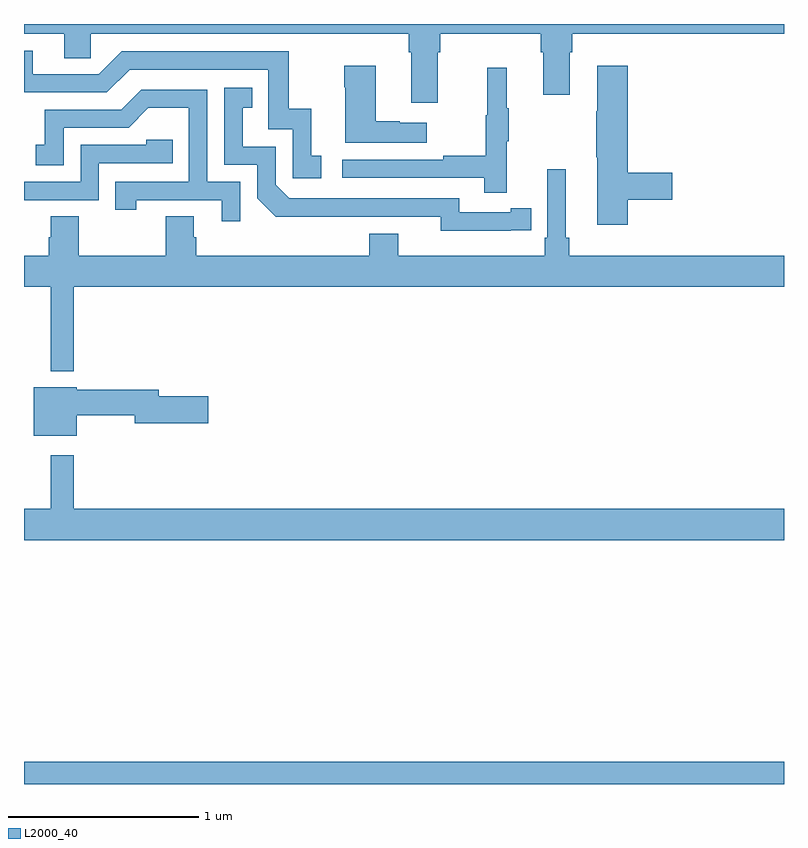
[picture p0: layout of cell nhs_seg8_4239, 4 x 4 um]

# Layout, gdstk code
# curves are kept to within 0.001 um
import gdstk
lib = gdstk.Library(unit=1e-6, precision=1e-09)
def R(c, l, rs):  # rectangles x0, y0, x1, y1
    for r in rs: c.add(gdstk.rectangle(r[:2], r[2:], *l))
def P(c, l, *ps):  # polygons
    for p in ps: c.add(gdstk.Polygon(p, *l))
L2000_40 = (2000, 40)

nhs_seg8_4239 = lib.new_cell('nhs_seg8_4239')
R(nhs_seg8_4239, L2000_40, [(371,1097.9,375,1098.016)])
P(nhs_seg8_4239, L2000_40, [(373.177,1101.752),(373.19,1101.752),(373.19,1101.848),(373.721,1101.848),(373.721,1101.752),(373.733,1101.752),(373.733,1101.528),(373.873,1101.528),(373.873,1101.752),(373.886,1101.752),(373.886,1101.848),(375,1101.848),(375,1101.9),(371,1101.9),(371,1101.848),(371.213,1101.848),(371.213,1101.721),(371.352,1101.721),(371.352,1101.848),(373.025,1101.848),(373.025,1101.752),(373.037,1101.752),(373.037,1101.486),(373.177,1101.486)],
  [(372.565,1101.207),(372.512,1101.207),(372.512,1101.454),(372.394,1101.454),(372.394,1101.756),(371.514,1101.756),(371.394,1101.636),(371.047,1101.636),(371.047,1101.759),(371,1101.759),(371,1101.54),(371.436,1101.54),(371.556,1101.66),(372.285,1101.66),(372.285,1101.345),(372.414,1101.345),(372.414,1101.087),(372.565,1101.087)],
  [(373.12,1101.379),(372.977,1101.379),(372.977,1101.389),(372.85,1101.389),(372.85,1101.679),(372.685,1101.679),(372.685,1101.566),(372.692,1101.566),(372.692,1101.275),(373.12,1101.275)],
  [(374.177,1100.974),(374.413,1100.974),(374.413,1101.116),(374.177,1101.116),(374.177,1101.679),(374.018,1101.679),(374.018,1101.44),(374.011,1101.44),(374.011,1101.199),(374.018,1101.199),(374.018,1100.844),(374.177,1100.844)],
  [(373.541,1101.283),(373.552,1101.283),(373.552,1101.457),(373.541,1101.457),(373.541,1101.67),(373.438,1101.67),(373.438,1101.42),(373.431,1101.42),(373.431,1101.206),(373.207,1101.206),(373.207,1101.186),(372.675,1101.186),(372.675,1101.09),(373.423,1101.09),(373.423,1101.012),(373.541,1101.012)],
  [(373.562,1100.814),(373.67,1100.814),(373.67,1100.93),(373.562,1100.93),(373.562,1100.91),(373.29,1100.91),(373.29,1100.982),(372.396,1100.982),(372.324,1101.054),(372.324,1101.255),(372.151,1101.255),(372.151,1101.459),(372.2,1101.459),(372.2,1101.565),(372.054,1101.565),(372.054,1101.159),(372.228,1101.159),(372.228,1100.982),(372.326,1100.885),(373.194,1100.886),(373.194,1100.813)],
  [(372.138,1101.069),(371.964,1101.069),(371.964,1101.555),(371.618,1101.555),(371.513,1101.45),(371.11,1101.45),(371.11,1101.265),(371.061,1101.265),(371.061,1101.156),(371.208,1101.156),(371.208,1101.354),(371.55,1101.354),(371.654,1101.458),(371.868,1101.458),(371.868,1101.069),(371.479,1101.069),(371.479,1100.922),(371.59,1100.922),(371.59,1100.973),(372.041,1100.973),(372.041,1100.862),(372.138,1100.862)],
  [(371.394,1101.168),(371.783,1101.168),(371.783,1101.291),(371.643,1101.291),(371.643,1101.264),(371.298,1101.264),(371.298,1101.069),(371,1101.069),(371,1100.973),(371.394,1100.973)],
  [(371.263,1100.516),(375,1100.516),(375,1100.68),(373.871,1100.68),(373.871,1100.776),(373.852,1100.776),(373.852,1101.136),(373.755,1101.136),(373.755,1100.776),(373.742,1100.776),(373.742,1100.68),(372.97,1100.68),(372.97,1100.797),(372.818,1100.797),(372.818,1100.68),(371.906,1100.68),(371.906,1100.778),(371.893,1100.778),(371.893,1100.888),(371.746,1100.888),(371.746,1100.68),(371.289,1100.68),(371.289,1100.888),(371.141,1100.888),(371.141,1100.778),(371.129,1100.778),(371.129,1100.68),(371,1100.68),(371,1100.516),(371.141,1100.516),(371.141,1100.072),(371.263,1100.072)],
  [(371.278,1099.84),(371.582,1099.84),(371.582,1099.798),(371.971,1099.798),(371.971,1099.94),(371.71,1099.94),(371.71,1099.976),(371.278,1099.976),(371.278,1099.987),(371.051,1099.987),(371.051,1099.733),(371.278,1099.733)],
  [(375,1099.348),(371.263,1099.348),(371.263,1099.63),(371.141,1099.63),(371.141,1099.348),(371,1099.348),(371,1099.184),(375,1099.184)])

lib.write_gds('nhs_seg8_4239.gds')
